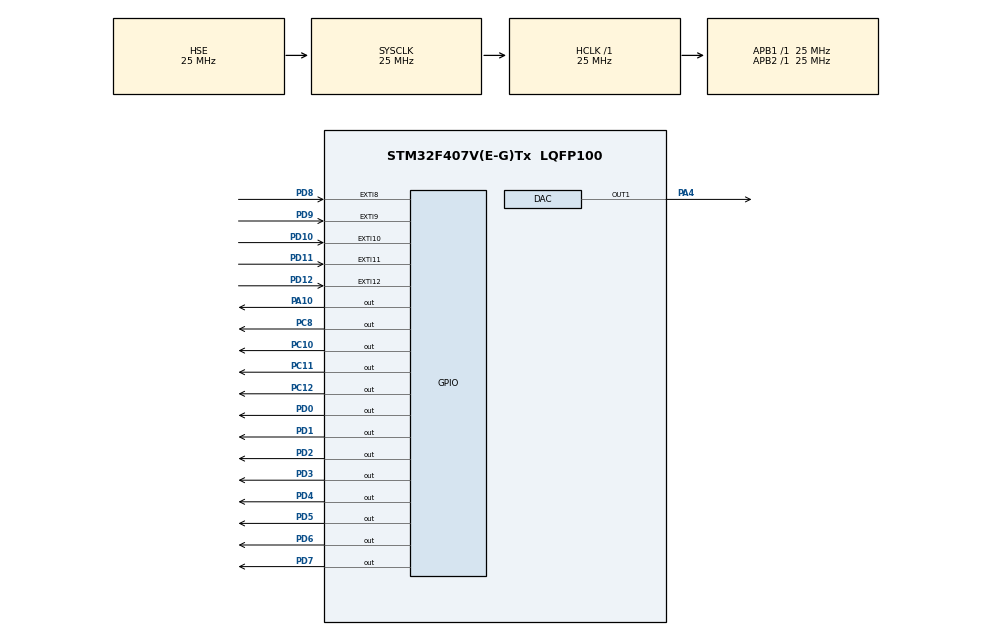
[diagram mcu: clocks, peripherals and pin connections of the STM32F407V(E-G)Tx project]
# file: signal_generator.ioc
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DAC.DAC_OutputBuffer=DAC_OUTPUTBUFFER_DISABLE
DAC.DAC_Trigger=DAC_TRIGGER_T6_TRGO
Dma.DAC1.0.Direction=DMA_MEMORY_TO_PERIPH
Dma.DAC1.0.FIFOMode=DMA_FIFOMODE_DISABLE
Dma.DAC1.0.Instance=DMA1_Stream5
Dma.DAC1.0.MemDataAlignment=DMA_MDATAALIGN_HALFWORD
Dma.DAC1.0.MemInc=DMA_MINC_ENABLE
Dma.DAC1.0.Mode=DMA_CIRCULAR
Dma.DAC1.0.PeriphDataAlignment=DMA_PDATAALIGN_HALFWORD
Dma.DAC1.0.PeriphInc=DMA_PINC_DISABLE
Dma.DAC1.0.Priority=DMA_PRIORITY_LOW
Dma.Request0=DAC1
Mcu.Family=STM32F4
Mcu.Name=STM32F407V(E-G)Tx
Mcu.Package=LQFP100
NVIC.DMA1_Stream5_IRQn=true\:0\:0\:false\:false\:true\:false\:true\:true
NVIC.EXTI15_10_IRQn=true\:0\:0\:false\:false\:true\:true\:true\:true
NVIC.EXTI9_5_IRQn=true\:0\:0\:false\:false\:true\:true\:true\:true
NVIC.PriorityGroup=NVIC_PRIORITYGROUP_4
PA10.Signal=GPIO_Output
PA4.Signal=COMP_DAC1_group
PC10.Signal=GPIO_Output
PC11.Signal=GPIO_Output
PC12.Signal=GPIO_Output
PC14-OSC32_IN.Mode=LSE-External-Oscillator
PC14-OSC32_IN.Signal=RCC_OSC32_IN
PC15-OSC32_OUT.Mode=LSE-External-Oscillator
PC15-OSC32_OUT.Signal=RCC_OSC32_OUT
PC8.Signal=GPIO_Output
PD0.Signal=GPIO_Output
PD1.Signal=GPIO_Output
PD10.GPIO_ModeDefaultEXTI=GPIO_MODE_IT_FALLING
PD10.GPIO_PuPd=GPIO_PULLUP
PD10.Signal=GPXTI10
PD11.GPIO_ModeDefaultEXTI=GPIO_MODE_IT_FALLING
PD11.GPIO_PuPd=GPIO_PULLUP
PD11.Signal=GPXTI11
PD12.GPIO_ModeDefaultEXTI=GPIO_MODE_IT_FALLING
PD12.GPIO_PuPd=GPIO_PULLUP
PD12.Signal=GPXTI12
PD2.Signal=GPIO_Output
PD3.Signal=GPIO_Output
PD4.Signal=GPIO_Output
PD5.Signal=GPIO_Output
PD6.Signal=GPIO_Output
PD7.Signal=GPIO_Output
PD8.GPIO_ModeDefaultEXTI=GPIO_MODE_IT_FALLING
PD8.GPIO_PuPd=GPIO_PULLUP
PD8.Signal=GPXTI8
PD9.GPIO_ModeDefaultEXTI=GPIO_MODE_IT_FALLING
PD9.GPIO_PuPd=GPIO_PULLUP
PD9.Signal=GPXTI9
PH0-OSC_IN.Mode=HSE-External-Oscillator
PH0-OSC_IN.Signal=RCC_OSC_IN
PH1-OSC_OUT.Mode=HSE-External-Oscillator
PH1-OSC_OUT.Signal=RCC_OSC_OUT
ProjectManager.HeapSize=0x200
ProjectManager.StackSize=0x400
ProjectManager.TargetToolchain=MDK-ARM V5.32
RCC.48MHZClocksFreq_Value=75000000
RCC.AHBFreq_Value=25000000
RCC.APB1Freq_Value=25000000
RCC.APB1TimFreq_Value=25000000
RCC.APB2Freq_Value=25000000
RCC.APB2TimFreq_Value=25000000
RCC.CortexFreq_Value=25000000
RCC.HCLKFreq_Value=25000000
RCC.HSE_VALUE=25000000
RCC.HSI_VALUE=16000000
RCC.PLLSourceVirtual=RCC_PLLSOURCE_HSE
RCC.SYSCLKFreq_VALUE=25000000
RCC.SYSCLKSource=RCC_SYSCLKSOURCE_HSE
RCC.VCOOutputFreq_Value=300000000
SH.COMP_DAC1_group.0=DAC_OUT1,DAC_OUT1
TIM6.AutoReloadPreload=TIM_AUTORELOAD_PRELOAD_ENABLE
TIM6.Period=5-1
TIM6.Prescaler=25-1
TIM6.TIM_MasterOutputTrigger=TIM_TRGO_UPDATE
VP_TIM6_VS_ClockSourceINT.Mode=Enable_Timer
board=custom

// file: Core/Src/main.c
/* USER CODE BEGIN Header */
/**
  ******************************************************************************
  * @file           : main.c
  * @brief          : Main program body
  ******************************************************************************
  * @attention
  *
  * Copyright (c) 2023 STMicroelectronics.
  * All rights reserved.
  *
  * This software is licensed under terms that can be found in the LICENSE file
  * in the root directory of this software component.
  * If no LICENSE file comes with this software, it is provided AS-IS.
  *
  ******************************************************************************
  */
/* USER CODE END Header */
#include "main.h"
#include "dac.h"
#include "dma.h"
#include "tim.h"
#include "gpio.h"

/* USER CODE BEGIN Includes */
#include "math.h"
/* USER CODE END Includes */

/* USER CODE BEGIN PD */
#define DEFAULT_AMP 100    //1000mv
#define DEFAULT_FRE 0.5
#define DEFAULT_BIAS 1500
#define DEFAULT_DUTY 0.1
#define MAX_VOLTAGE 3300
#define MAX_FRE 10000
#define MAX_DUTY 0.9
/* USER CODE END PD */

/* USER CODE BEGIN PV */
uint32_t lastTime=0;
int wave = 0; 														//select wave shape, 0 is sin wave; 1 is square wave; 2 is rectangle wave.
int functions = 0; 												//select functions, 0 is frequency; 1 is amplitude; 2 is duty cycle.
double hz = 1000; 											//频率值，单位HZ
int amplitude = 1000;										//幅度值，单位mv

uint16_t sindds[200]={0};							//存放波形数据的缓冲区

double duty_cycle = DEFAULT_DUTY;			//占空比
int dots = 0;

int current = 0;
int previous = 0;

/* USER CODE END PV */

void SystemClock_Config(void);

/* USER CODE BEGIN 0 */

//计算sin函数一个周期的值
void dds_calculate_sin(int A,int dot_num){

	int i = 0;
	float val = 0;
	for(i=0;i<200;i++)
	{
		sindds[i]=0;
	}
	double inc = 2 * 3.1415926 / dot_num;
	for(i=0;i<dot_num;i++)
	{
		val = (1 + sin(inc * i)) * A / 3300.0 * 2048;
		if(val>4095)
			val = 4095;
		sindds[i] = val;
	}
}
//计算方波一个周期的值
void dds_calculate_square(int A, int dot_num){
	uint8_t i = 0;
	for(; i< (uint8_t)(dot_num / 2.0); i++){
		sindds[i] = A / 3300.0 * 4095;
	}
	for(; i<dot_num; i++){
		sindds[i] = 0;
	}
}
//计算矩形波一个周期的值
void dds_calculate_rectangle(int A, int dot_num, double duty_cycle){
	uint8_t i = 0;
	int positive = (int)(duty_cycle * dot_num);
	for(; i<positive; i++){
		sindds[i] = A / 3300.0 * 4095;
	}
	for(; i<dot_num; i++){
		sindds[i] = 0;
	}
}

//重新设置定时器
//这在改变频率时需要重新设置定时器的周期从而改变频率
//arr:重装载值，psc:预分频系数
void dac_dma_wave_enable(uint16_t arr, uint16_t psc)
{
 TIM_HandleTypeDef tim6_handle = {0};
 TIM_MasterConfigTypeDef master_config = {0};
 __HAL_RCC_TIM6_CLK_ENABLE(); /* TIM7 时钟使能 */
 tim6_handle.Instance = TIM6; /* 选择定时器 7 */
 tim6_handle.Init.Prescaler = psc; /* 分频系数 */
 tim6_handle.Init.CounterMode = TIM_COUNTERMODE_UP; /* 向上计数 */
 tim6_handle.Init.Period = arr; /* 重装载值 */
 tim6_handle.Init.AutoReloadPreload=TIM_AUTORELOAD_PRELOAD_ENABLE;/*自动重装*/
 HAL_TIM_Base_Init(&tim6_handle); /* 初始化定时器 7 */
 master_config.MasterOutputTrigger = TIM_TRGO_UPDATE;
 master_config.MasterSlaveMode = TIM_MASTERSLAVEMODE_DISABLE;
 /* 配置 TIM7 TRGO */
 HAL_TIMEx_MasterConfigSynchronization(&tim6_handle, &master_config);
 HAL_TIM_Base_Start(&tim6_handle); /* 使能定时器 7 */
 /* 先停止之前的传输 */
 HAL_DAC_Stop_DMA(&hdac,DAC_CHANNEL_1);
}

//当改变频率以及幅值时需要重新设置DMA，比如需要重新设置输出数据长度等
void reset_DMA()
{
	HAL_DAC_Stop_DMA(&hdac,DAC_CHANNEL_1);//先暂停定时器以及DMA的传输
	HAL_TIM_Base_Stop(&htim6);
	if(hz<1000 && hz >=1 )								//当频率当1-1000HZ时需要改变定时器的预分频系数
	{
		dac_dma_wave_enable(5-1,(int)(1000.0 / hz * 25 - 1));
		dots = 200;
	}
	else if(hz < 1)												//当频率小于1HZ时不仅改变预分频系数而且还要改变重装载值
	{

		dac_dma_wave_enable((int)((1.0 / hz) * 5 - 1),25000-1);
		dots = 200;
	}
	else																	//当频率大于1000HZ时不改变定时器只改变输出点的个数
	{
		dac_dma_wave_enable(5-1,25-1);
		dots = 1000.0 / hz * 200;
	}

	HAL_DAC_Stop_DMA(&hdac,DAC_CHANNEL_1);
	HAL_TIM_Base_Stop(&htim6);
	if(wave==0)														//判断当前是哪个波形从而决定数组的形式
	{
		dds_calculate_sin(amplitude,dots);
	}
	else if(wave==1)
	{
		dds_calculate_square(amplitude,dots);

	}
	else
	{
		dds_calculate_rectangle(amplitude,dots,duty_cycle);
	}

	HAL_TIM_Base_Start_IT(&htim6);			//重新启动定时器和DMA传输
	HAL_DAC_Start_DMA(&hdac, DAC_CHANNEL_1, (uint32_t *)sindds, dots, DAC_ALIGN_12B_R);

}

//按键外部中断服务程序
void HAL_GPIO_EXTI_Callback(uint16_t GPIO_Pin)
 {

	if(HAL_GetTick()-lastTime>300)
	{
		current++;															//current加一是为了在主循环里面判断之前是否发生过中断
		if(GPIO_Pin == key1_pin){ 							//按键1选择波形
			if(wave == 2){
				wave = 0;
				functions = 0;
			}
			else{
				wave++;
				if(wave == 2){
					functions = 2;
				}
				else{
					functions = 0;
				}
			}
		}
		if(GPIO_Pin == key2_pin){ 							//按键2选择要增加的量fuctions:0频率，functions:1幅度，functions:2占空比
			if(functions == 1){
				functions = 0;
			}
			else if(functions == 0){
				functions = 1;
			}
		}
		if(GPIO_Pin == key3_pin){ 							//按键3，每按一次增加频率1k、幅度1V、	占空比10%
			if(functions == 0){
				double temp = hz + 1000;
				if(temp > MAX_FRE){
					hz = DEFAULT_FRE;
				}
				else{
					hz = temp;
				}
			}

			if(functions == 1){
				double temp = amplitude + 1000;
				if(temp > MAX_VOLTAGE){
					amplitude = DEFAULT_AMP;
				}
				else{
					amplitude = temp;
				}
			}
			if(functions == 2){
				double temp = duty_cycle + 0.1;
				if(temp > MAX_DUTY){
					duty_cycle = DEFAULT_DUTY;
				}
				else{
					duty_cycle = temp;
				}
			}

		}
		if(GPIO_Pin == key4_pin){               //按键4，每按一次增加频率100HZ、幅度100mV、	占空比5%
			if(functions == 0){
				double temp = hz + 100;
				if(temp > MAX_FRE){
					hz = DEFAULT_FRE;
				}
				else{
					hz = temp;
				}
			}
			if(functions == 1){
				double temp = amplitude + 100;
				if(temp > MAX_VOLTAGE){
					amplitude = DEFAULT_AMP;
				}
				else{
					amplitude = temp;
				}
			}
			if(functions == 2){
				double temp = duty_cycle + 0.05;
				if(temp > MAX_DUTY){
					duty_cycle = DEFAULT_DUTY;
				}
				else{
					duty_cycle = temp;
				}
			}
			reset_DMA();
		}
		if(GPIO_Pin == key5_pin){ 						//按键5，每按一次增加频率10HZ、幅度10mV、	占空比1%
			if(functions == 0){
				double temp = hz + 10;
				if(temp > MAX_FRE){
					hz = DEFAULT_FRE;
				}
				else{
					hz = temp;
				}
			}
			if(functions == 1){
				double temp = amplitude + 10;
				if(temp > MAX_VOLTAGE){
					amplitude = DEFAULT_AMP;
				}
				else{
					amplitude = temp;
				}
			}
			if(functions == 2){
				double temp = duty_cycle + 0.01;
				if(temp > MAX_DUTY){
					duty_cycle = DEFAULT_DUTY;
				}
				else{
					duty_cycle = temp;
				}
			}
			reset_DMA();
		}
	}
	lastTime = HAL_GetTick();
}

/* USER CODE END 0 */

int main(void)
{

  /* MCU Configuration--------------------------------------------------------*/

  /* Reset of all peripherals, Initializes the Flash interface and the Systick. */
  HAL_Init();

  /* Configure the system clock */
  SystemClock_Config();

  /* Initialize all configured peripherals */
  MX_GPIO_Init();
  MX_DMA_Init();
  MX_TIM6_Init();
  MX_DAC_Init();
  /* USER CODE BEGIN 2 */
	//HAL_TIM_Base_Start_IT(&htim6);//启动定时器中断

	dots = 1000.0 / hz * 200;						//计算点的个数
	dds_calculate_sin(amplitude,dots);

  /* USER CODE END 2 */

  /* Infinite loop */
  /* USER CODE BEGIN WHILE */
  while (1)
  {

		if(previous != current)			//判断之前是否发生过中断
		{
			reset_DMA();
			previous = current;
		}
		//dds_calculate_sin(amplitude,dots);
		HAL_TIM_Base_Start_IT(&htim6);//启动定时器中断
		//HAL_DAC_Stop_DMA(&hdac,DAC_CHANNEL_1);
		HAL_DAC_Start_DMA(&hdac, DAC_CHANNEL_1, (uint32_t *)sindds, dots, DAC_ALIGN_12B_R);

    /* USER CODE END WHILE */

  }
}

void SystemClock_Config(void)
{
  RCC_OscInitTypeDef RCC_OscInitStruct = {0};
  RCC_ClkInitTypeDef RCC_ClkInitStruct = {0};

  /** Configure the main internal regulator output voltage
  */
  __HAL_RCC_PWR_CLK_ENABLE();
  __HAL_PWR_VOLTAGESCALING_CONFIG(PWR_REGULATOR_VOLTAGE_SCALE1);

  /** Initializes the RCC Oscillators according to the specified parameters
  * in the RCC_OscInitTypeDef structure.
  */
  RCC_OscInitStruct.OscillatorType = RCC_OSCILLATORTYPE_HSE;
  RCC_OscInitStruct.HSEState = RCC_HSE_ON;
  RCC_OscInitStruct.PLL.PLLState = RCC_PLL_NONE;
  if (HAL_RCC_OscConfig(&RCC_OscInitStruct) != HAL_OK)
  {
    Error_Handler();
  }

  /** Initializes the CPU, AHB and APB buses clocks
  */
  RCC_ClkInitStruct.ClockType = RCC_CLOCKTYPE_HCLK|RCC_CLOCKTYPE_SYSCLK
                              |RCC_CLOCKTYPE_PCLK1|RCC_CLOCKTYPE_PCLK2;
  RCC_ClkInitStruct.SYSCLKSource = RCC_SYSCLKSOURCE_HSE;
  RCC_ClkInitStruct.AHBCLKDivider = RCC_SYSCLK_DIV1;
  RCC_ClkInitStruct.APB1CLKDivider = RCC_HCLK_DIV1;
  RCC_ClkInitStruct.APB2CLKDivider = RCC_HCLK_DIV1;

  if (HAL_RCC_ClockConfig(&RCC_ClkInitStruct, FLASH_LATENCY_0) != HAL_OK)
  {
    Error_Handler();
  }
}

void Error_Handler(void)
{
  __disable_irq();
  while (1)
  {
  }
}
